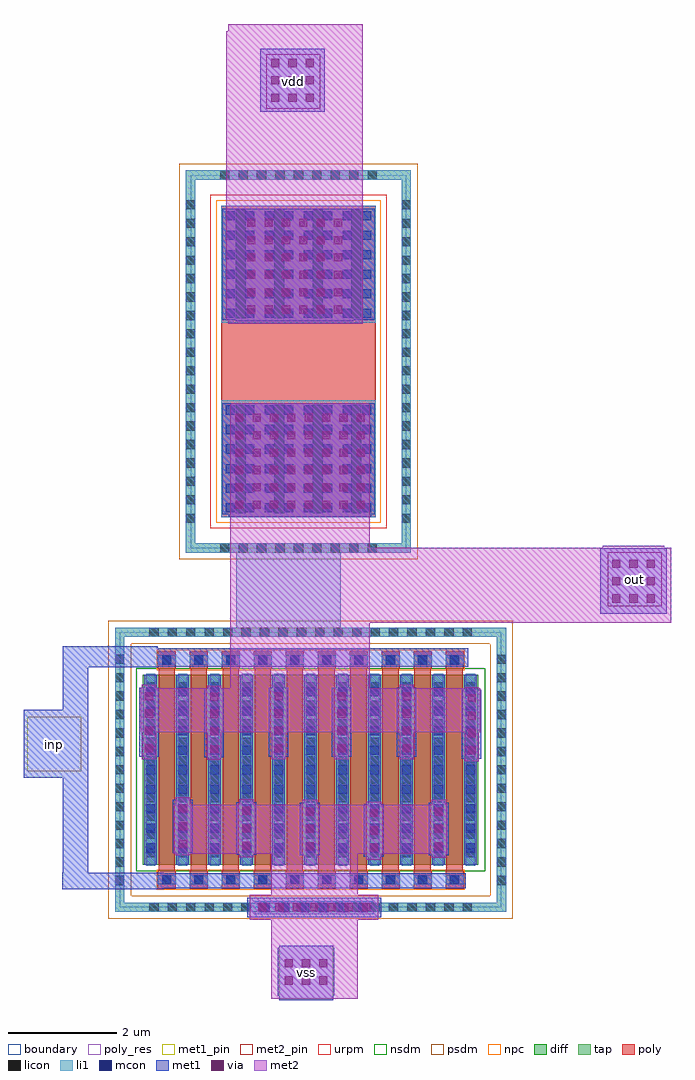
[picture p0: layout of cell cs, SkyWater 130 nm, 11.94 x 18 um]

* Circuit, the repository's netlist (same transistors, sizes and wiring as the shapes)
** sch_path: /home/vks/design/xschem/cs.sch
.subckt cs inp out vdd vss
*.PININFO inp:I out:O vdd:B vss:B
XM1 out inp vss vss sky130_fd_pr__nfet_01v8 L=0.30 W=35 nf=10 m=1
XR2 out vdd vss sky130_fd_pr__res_xhigh_po_2p85 L=1.43 mult=1 m=1
.ends
.end

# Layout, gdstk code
from math import pi, radians
import gdstk
lib = gdstk.Library(unit=1e-6, precision=1e-09)
def R(c, l, rs):  # rectangles x0, y0, x1, y1
    for r in rs: c.add(gdstk.rectangle(r[:2], r[2:], *l))
def A(c, l, x, y, w, h, nx, ny, dx, dy):  # array of equal rectangles
    R(c, l, [(x+i*dx, y+j*dy, x+i*dx+w, y+j*dy+h) for i in range(nx) for j in range(ny)])
diff = (65, 20)
tap = (65, 44)
poly_res = (66, 13)
poly = (66, 20)
licon = (66, 44)
li1 = (67, 20)
mcon = (67, 44)
met1_pin = (68, 16)
met1 = (68, 20)
via = (68, 44)
met2_pin = (69, 16)
met2 = (69, 20)
urpm = (79, 20)
nsdm = (93, 44)
psdm = (94, 20)
npc = (95, 20)
boundary = (235, 4)

sky130_fd_pr__nfet_01v8_ = lib.new_cell('sky130_fd_pr__nfet_01v8_WUV6BX')
R(sky130_fd_pr__nfet_01v8_, diff, [(-3.095,-1.75,3.095,1.75)])
R(sky130_fd_pr__nfet_01v8_, tap, [(-3.605,-2.62,3.605,-2.45), (-3.605,-2.45,-3.435,2.45), (3.435,-2.45,3.605,2.45), (-3.605,2.45,3.605,2.62)])
A(sky130_fd_pr__nfet_01v8_, poly, -2.82, -2.19, 0.33, 0.33, 10, 2, 0.59, 4.05)
A(sky130_fd_pr__nfet_01v8_, poly, -2.805, -1.86, 0.3, 3.72, 10, 1, 0.59, 0)
A(sky130_fd_pr__nfet_01v8_, licon, -2.975, -2.62, 0.17, 0.17, 18, 2, 0.34, 5.07)
A(sky130_fd_pr__nfet_01v8_, licon, -3.605, -2.125, 0.17, 0.17, 1, 13, 0, 0.34)
A(sky130_fd_pr__nfet_01v8_, licon, 3.435, -2.125, 0.17, 0.17, 1, 13, 0, 0.34)
A(sky130_fd_pr__nfet_01v8_, licon, -2.74, -2.11, 0.17, 0.17, 10, 2, 0.59, 4.05)
A(sky130_fd_pr__nfet_01v8_, licon, -3.035, -1.615, 0.17, 0.17, 11, 10, 0.59, 0.34)
A(sky130_fd_pr__nfet_01v8_, li1, -2.82, -2.11, 0.33, 0.17, 10, 2, 0.59, 4.05)
A(sky130_fd_pr__nfet_01v8_, li1, -3.035, -1.77, 0.17, 3.54, 11, 1, 0.59, 0)
R(sky130_fd_pr__nfet_01v8_, li1, [(-3.605,-2.62,3.605,-2.45), (-3.605,-2.45,-3.435,2.45), (3.435,-2.45,3.605,2.45), (-3.605,2.45,3.605,2.62)])
A(sky130_fd_pr__nfet_01v8_, mcon, -2.74, -2.11, 0.17, 0.17, 10, 2, 0.59, 4.05)
A(sky130_fd_pr__nfet_01v8_, mcon, -3.035, -1.525, 0.17, 0.17, 11, 9, 0.59, 0.36)
A(sky130_fd_pr__nfet_01v8_, met1, -2.8, -2.14, 0.29, 0.23, 10, 2, 0.59, 4.05)
A(sky130_fd_pr__nfet_01v8_, met1, -3.065, -1.75, 0.23, 3.5, 11, 1, 0.59, 0)
R(sky130_fd_pr__nfet_01v8_, nsdm, [(-3.22,-1.875,3.22,1.875)])
R(sky130_fd_pr__nfet_01v8_, psdm, [(-3.73,-2.745,3.73,-2.325), (-3.73,-2.325,-3.31,2.325), (3.31,-2.325,3.73,2.325), (-3.73,2.325,3.73,2.745)])
R(sky130_fd_pr__nfet_01v8_, npc, [(-2.84,-2.21,2.84,-1.84), (-2.84,1.84,2.84,2.21)])
R(sky130_fd_pr__nfet_01v8_, boundary, [(-3.52,-2.535,3.52,2.535)])

sky130_fd_pr__res_xhigh_ = lib.new_cell('sky130_fd_pr__res_xhigh_po_2p85_RYTYPJ')
R(sky130_fd_pr__res_xhigh_, tap, [(-2.075,-3.525,2.075,-3.355), (-2.075,-3.355,-1.905,3.355), (1.905,-3.355,2.075,3.355), (-2.075,3.355,2.075,3.525)])
R(sky130_fd_pr__res_xhigh_, poly_res, [(-1.425,-0.775,1.425,0.775)])
R(sky130_fd_pr__res_xhigh_, poly, [(-1.425,-2.875,1.425,2.875)])
A(sky130_fd_pr__res_xhigh_, licon, -1.445, -3.525, 0.17, 0.17, 9, 2, 0.34, 6.88)
A(sky130_fd_pr__res_xhigh_, licon, -2.075, -2.975, 0.17, 0.17, 1, 18, 0, 0.34)
A(sky130_fd_pr__res_xhigh_, licon, 1.905, -2.975, 0.17, 0.17, 1, 18, 0, 0.34)
A(sky130_fd_pr__res_xhigh_, licon, -1.16, -2.795, 0.19, 2, 4, 2, 0.71, 3.59)
R(sky130_fd_pr__res_xhigh_, li1, [(-2.075,-3.525,2.075,-3.355), (-2.075,-3.355,-1.905,3.355), (1.905,-3.355,2.075,3.355), (-1.425,-2.875,1.425,-0.715), (-1.425,0.715,1.425,2.875), (-2.075,3.355,2.075,3.525)])
A(sky130_fd_pr__res_xhigh_, mcon, -1.345, -2.78, 0.17, 0.17, 8, 6, 0.36, 0.36)
A(sky130_fd_pr__res_xhigh_, mcon, -1.345, 0.805, 0.17, 0.17, 8, 6, 0.36, 0.36)
R(sky130_fd_pr__res_xhigh_, met1, [(-1.405,-2.815,1.405,-0.77), (-1.405,0.77,1.405,2.815)])
R(sky130_fd_pr__res_xhigh_, urpm, [(-1.625,-3.075,1.625,3.075)])
R(sky130_fd_pr__res_xhigh_, psdm, [(-2.2,-3.65,2.2,3.65)])
R(sky130_fd_pr__res_xhigh_, npc, [(-1.52,-2.97,1.52,2.97)])
R(sky130_fd_pr__res_xhigh_, boundary, [(-1.99,-3.44,1.99,3.44)])

c_cs = lib.new_cell('cs')
R(c_cs, li1, [(2.49,2.87,4.68,3.11), (2.15,7.99,4.08,9.7)])
A(c_cs, mcon, 2.6, 2.905, 0.17, 0.17, 6, 1, 0.36, 0)
R(c_cs, met1_pin, [(2.94,1.29,3.94,2.29), (-1.71,5.51,-0.71,6.51)])
R(c_cs, met1, [(2.94,1.29,3.94,1.37), (2.91,1.37,3.96,2.25), (2.94,2.25,3.94,2.29), (2.35,2.82,4.82,3.18), (-1.06,3.33,0.81,3.35), (-1.06,3.35,6.38,3.63), (-1.06,3.63,0.81,3.64), (-1.05,3.64,-0.58,5.39), (4.5,3.93,4.87,4.9), (3.32,3.96,3.69,4.93), (5.7,3.96,6.07,4.93), (2.15,3.97,2.52,4.94), (0.98,4.01,1.35,4.98), (-1.77,5.39,-0.58,6.64), (6.31,5.74,6.67,7.01), (1.56,5.77,1.92,7.04), (0.36,5.78,0.72,7.05), (2.75,5.78,3.11,7.05), (3.91,5.78,4.27,7.05), (5.11,5.78,5.47,7.05), (-1.05,6.64,-0.58,7.43), (-1.05,7.43,0.7,7.44), (-1.05,7.44,6.43,7.78), (-1.05,7.78,0.7,7.81), (8.86,8.41,10.09,9.62), (2.01,10.2,4.64,12.25), (2.14,13.81,4.31,15.84), (2.59,17.67,3.78,18.83)])
A(c_cs, via, 3.04, 1.575, 0.15, 0.15, 3, 2, 0.32, 0.32)
A(c_cs, via, 2.55, 2.925, 0.15, 0.15, 7, 1, 0.32, 0)
A(c_cs, via, 4.61, 4.02, 0.15, 0.15, 1, 3, 0, 0.32)
A(c_cs, via, 3.43, 4.05, 0.15, 0.15, 1, 3, 0, 0.32)
A(c_cs, via, 5.81, 4.05, 0.15, 0.15, 1, 3, 0, 0.32)
A(c_cs, via, 2.26, 4.06, 0.15, 0.15, 1, 3, 0, 0.32)
A(c_cs, via, 1.09, 4.1, 0.15, 0.15, 1, 3, 0, 0.32)
A(c_cs, via, 6.415, 5.82, 0.15, 0.15, 1, 4, 0, 0.32)
A(c_cs, via, 1.665, 5.85, 0.15, 0.15, 1, 4, 0, 0.32)
A(c_cs, via, 0.465, 5.86, 0.15, 0.15, 1, 4, 0, 0.32)
A(c_cs, via, 2.855, 5.86, 0.15, 0.15, 1, 4, 0, 0.32)
A(c_cs, via, 4.015, 5.86, 0.15, 0.15, 1, 4, 0, 0.32)
A(c_cs, via, 5.215, 5.86, 0.15, 0.15, 1, 4, 0, 0.32)
A(c_cs, via, 9.08, 8.62, 0.15, 0.15, 3, 3, 0.32, 0.32)
A(c_cs, via, 2.13, 10.35, 0.15, 0.15, 8, 6, 0.32, 0.32)
A(c_cs, via, 2.35, 13.95, 0.15, 0.15, 6, 6, 0.32, 0.32)
A(c_cs, via, 2.79, 17.855, 0.15, 0.15, 3, 3, 0.32, 0.32)
R(c_cs, met2_pin, [(9,8.55,10,9.55), (2.7,17.73,3.7,18.73)])
R(c_cs, met2, [(2.79,1.31,4.39,2.77), (2.4,2.77,4.77,3.23), (2.79,3.23,4.39,3.99), (4.55,3.88,4.82,3.99), (5.75,3.91,6.02,3.99), (2.2,3.92,2.47,3.99), (1.03,3.96,1.3,3.99), (0.99,3.99,6.04,4.89), (1.03,4.89,1.3,5.03), (2.2,4.89,2.47,4.99), (3.37,4.89,3.64,4.98), (4.55,4.89,4.82,4.95), (5.75,4.89,6.02,4.98), (6.36,5.69,6.62,6.23), (1.61,5.72,1.87,6.23), (0.41,5.73,0.67,6.23), (2.8,5.73,3.06,6.23), (3.96,5.73,4.22,6.23), (5.16,5.73,5.42,6.23), (0.39,6.23,6.65,7.04), (0.41,7.04,0.67,7.1), (1.61,7.04,1.87,7.09), (2.04,7.04,4.61,8.25), (5.16,7.04,5.42,7.1), (6.36,7.04,6.62,7.06), (2.04,8.25,10.17,9.63), (2.04,9.63,4.61,12.28), (8.91,9.63,10.04,9.67), (2.06,12.28,4.59,12.3), (2,13.76,4.48,13.83), (1.96,13.83,4.48,19.16), (2,19.16,4.48,19.29)])
c_cs.add(gdstk.Reference(sky130_fd_pr__nfet_01v8_, (3.52,5.535)))
c_cs.add(gdstk.Reference(sky130_fd_pr__res_xhigh_, (3.295,13.065), rotation=pi, x_reflection=True))
c_cs.add(gdstk.Label('inp', (-1.21,6.01), layer=68, texttype=5))
c_cs.add(gdstk.Label('out', (9.5,9.05), layer=69, texttype=5))
c_cs.add(gdstk.Label('vdd', (3.2,18.23), layer=69, texttype=5))
c_cs.add(gdstk.Label('vss', (3.44,1.79), layer=68, texttype=5))

lib.write_gds('cs.gds')
